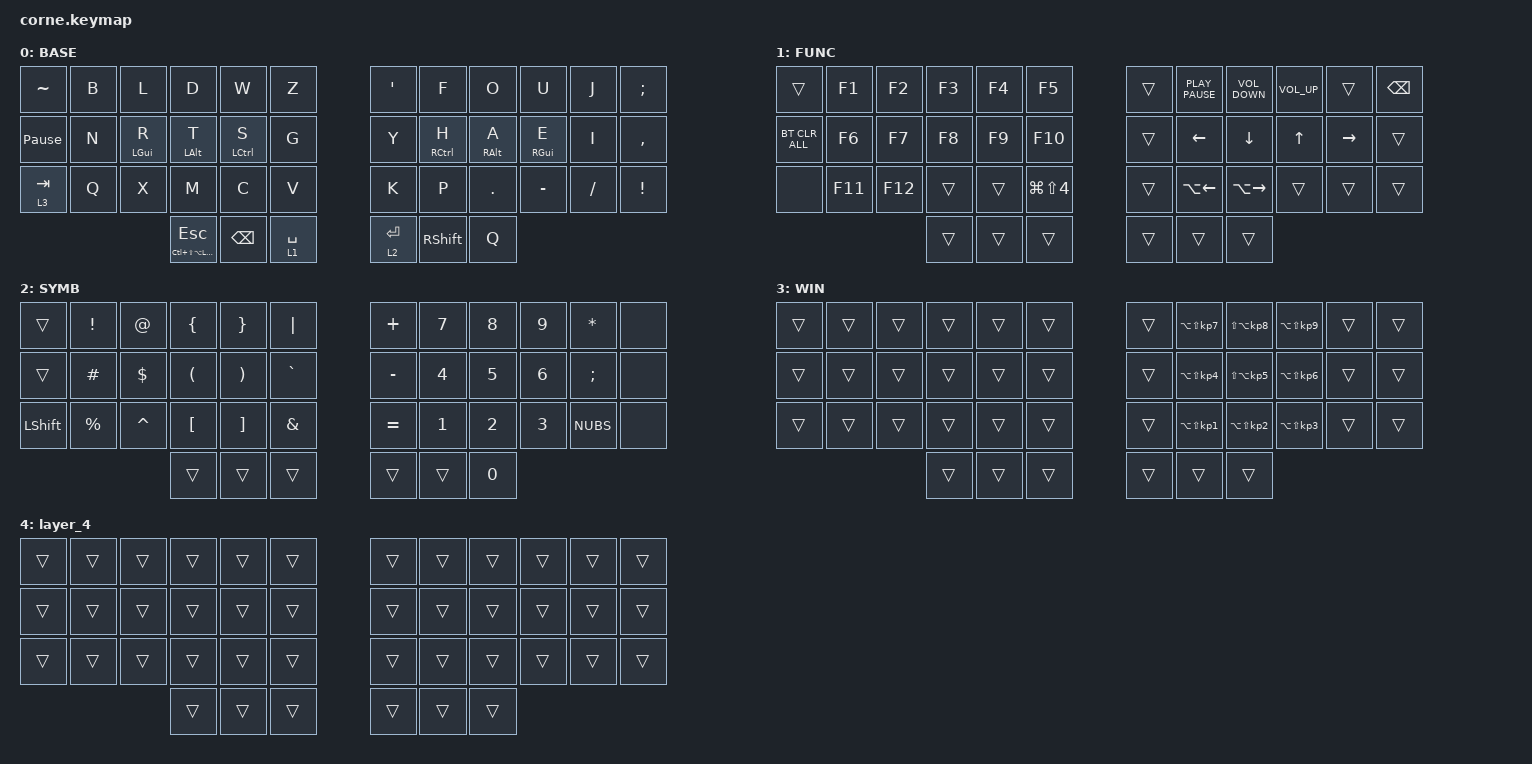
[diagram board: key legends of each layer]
/*
 * Copyright (c) 2020 The ZMK Contributors
 *
 * SPDX-License-Identifier: MIT
 */

#include <behaviors.dtsi>
#include <dt-bindings/zmk/bt.h>
#include <dt-bindings/zmk/keys.h>

/ {
    combos {
        compatible = "zmk,combos";

        Enter {
            bindings = <&kp ENTER>;
            key-positions = <7 8 9>;
            layers = <0>;
        };

        Tab {
            bindings = <&kp TAB>;
            key-positions = <2 3>;
        };

        esc {
            bindings = <&kp ESCAPE>;
            key-positions = <7 8>;
        };

        Iock {
            bindings = <&kp K_LOCK>;
            key-positions = <17 18>;
        };

        equals {
            bindings = <&kp EQUAL>;
            key-positions = <30 31>;
        };
    };

    macros {
        empty: empty {
            compatible = "zmk,behavior-macro";
            #binding-cells = <0>;
            bindings = <&none>;
            label = "EMPTY";
        };
    };

    behaviors {
        Hold_tap_left: Hold_tap_left {
            compatible = "zmk,behavior-hold-tap";
            label = "HOLD_TAP_LEFT";
            bindings = <&kp>, <&kp>;

            #binding-cells = <2>;
            flavor = "balanced";
            tapping-term-ms = <200>;
            quick-tap-ms = <175>;
            require-prior-idle-ms = <150>;
            hold-trigger-on-release;
            hold-trigger-key-positions = <39 40 41 19 20 21 6 7 9 8 10 11 23 22 18 30 32 31 33 34 35>;
            hold-while-undecided;
        };

        Hold_tap_right: Hold_tap_right {
            compatible = "zmk,behavior-hold-tap";
            label = "HOLD_TAP_RIGHT";
            bindings = <&kp>, <&kp>;

            #binding-cells = <2>;
            tapping-term-ms = <200>;
            quick-tap-ms = <175>;
            require-prior-idle-ms = <150>;
            flavor = "balanced";
            hold-trigger-on-release;
            hold-trigger-key-positions = <15 16 36 37 38 5 4 3 2 1 0 12 13 14 17 24 25 27 26 28 29>;
            hold-while-undecided;
        };
    };

    keymap {
        compatible = "zmk,keymap";

        BASE {
            // -----------------------------------------------------------------------------------------
            // |  TAB |  Q  |  W  |  E  |  R  |  T  |   |  Y  |  U   |  I  |  O  |  P  | BSPC |
            // | CTRL |  A  |  S  |  D  |  F  |  G  |   |  H  |  J   |  K  |  L  |  ;  |  '   |
            // | SHFT |  Z  |  X  |  C  |  V  |  B  |   |  N  |  M   |  ,  |  .  |  /  | ESC  |
            //                    | GUI | LWR | SPC |   | ENT | RSE  | ALT |

            bindings = <
&kp TILDE        &kp B  &kp L                  &kp D                        &kp W                   &kp Z          &kp SINGLE_QUOTE  &kp F                    &kp O                        &kp U                        &kp J     &kp SEMICOLON
&kp PAUSE_BREAK  &kp N  &Hold_tap_left LGUI R  &Hold_tap_left LEFT_ALT T    &Hold_tap_left LCTRL S  &kp G          &kp Y             &Hold_tap_right RCTRL H  &Hold_tap_right RIGHT_ALT A  &Hold_tap_right RIGHT_GUI E  &kp I     &kp COMMA
&lt 3 TAB        &kp Q  &kp X                  &kp M                        &kp C                   &kp V          &kp K             &kp P                    &kp PERIOD                   &kp MINUS                    &kp FSLH  &kp EXCLAMATION
                                               &mt LC(LS(LA(LGUI))) ESCAPE  &kp BACKSPACE           &lt 1 SPACE    &lt 2 ENTER       &kp RIGHT_SHIFT          &kp Q
            >;

            label = "BASE";
        };

        FUNC {
            // -----------------------------------------------------------------------------------------
            // |  TAB |  1  |  2  |  3  |  4  |  5  |   |  6  |  7  |  8  |  9  |  0  | BSPC |
            // | BTCLR| BT1 | BT2 | BT3 | BT4 | BT5 |   | LFT | DWN |  UP | RGT |     |      |
            // | SHFT |     |     |     |     |     |   |     |     |     |     |     |      |
            //                    | GUI |     | SPC |   | ENT |     | ALT |

            bindings = <
&trans          &kp F1   &kp F2   &kp F3  &kp F4  &kp F5                  &trans  &kp K_PLAY_PAUSE  &kp C_VOLUME_DOWN  &kp C_VOLUME_UP  &trans     &kp BSPC
&bt BT_CLR_ALL  &kp F6   &kp F7   &kp F8  &kp F9  &kp F10                 &trans  &kp LEFT          &kp DOWN_ARROW     &kp UP_ARROW     &kp RIGHT  &trans
&none           &kp F11  &kp F12  &trans  &trans  &kp LG(LS(NUMBER_4))    &trans  &kp LA(LEFT)      &kp LA(RIGHT)      &trans           &trans     &trans
                                  &trans  &trans  &trans                  &trans  &trans            &trans
            >;

            label = "FUNC";
        };

        SYMB {
            // -----------------------------------------------------------------------------------------
            // |  TAB |  !  |  @  |  #  |  $  |  %  |   |  ^  |  &  |  *  |  (  |  )  | BSPC |
            // | CTRL |     |     |     |     |     |   |  -  |  =  |  [  |  ]  |  \  |  `   |
            // | SHFT |     |     |     |     |     |   |  _  |  +  |  {  |  }  | "|" |  ~   |
            //                    | GUI |     | SPC |   | ENT |     | ALT |

            bindings = <
&trans     &kp EXCL     &kp AT      &kp LEFT_BRACE        &kp RIGHT_BRACE        &kp PIPE         &kp PLUS   &kp N7        &kp N8        &kp N9        &kp ASTERISK   &none
&trans     &kp HASH     &kp DOLLAR  &kp LEFT_PARENTHESIS  &kp RIGHT_PARENTHESIS  &kp GRAVE        &kp MINUS  &kp NUMBER_4  &kp N5        &kp NUMBER_6  &kp SEMICOLON  &none
&kp LSHFT  &kp PERCENT  &kp CARET   &kp LEFT_BRACKET      &kp RIGHT_BRACKET      &kp AMPERSAND    &kp EQUAL  &kp NUMBER_1  &kp NUMBER_2  &kp NUMBER_3  &kp NUBS       &none
                                    &trans                &trans                 &trans           &trans     &trans        &kp N0
            >;

            label = "SYMB";
        };

        WIN {
            bindings = <
&trans  &trans  &trans  &trans  &trans  &trans    &trans  &kp LA(LS(KP_NUMBER_7))  &kp LS(LA(KP_NUMBER_8))  &kp LA(LS(KP_NUMBER_9))  &trans  &trans
&trans  &trans  &trans  &trans  &trans  &trans    &trans  &kp LA(LS(KP_NUMBER_4))  &kp LS(LA(KP_NUMBER_5))  &kp LA(LS(KP_NUMBER_6))  &trans  &trans
&trans  &trans  &trans  &trans  &trans  &trans    &trans  &kp LA(LS(KP_NUMBER_1))  &kp LA(LS(KP_NUMBER_2))  &kp LA(LS(KP_NUMBER_3))  &trans  &trans
                        &trans  &trans  &trans    &trans  &trans                   &trans
            >;

            label = "WIN";
        };

        layer_4 {
            bindings = <
&trans  &trans  &trans  &trans  &trans  &trans    &trans  &trans  &trans  &trans  &trans  &trans
&trans  &trans  &trans  &trans  &trans  &trans    &trans  &trans  &trans  &trans  &trans  &trans
&trans  &trans  &trans  &trans  &trans  &trans    &trans  &trans  &trans  &trans  &trans  &trans
                        &trans  &trans  &trans    &trans  &trans  &trans
            >;
        };
    };
};
